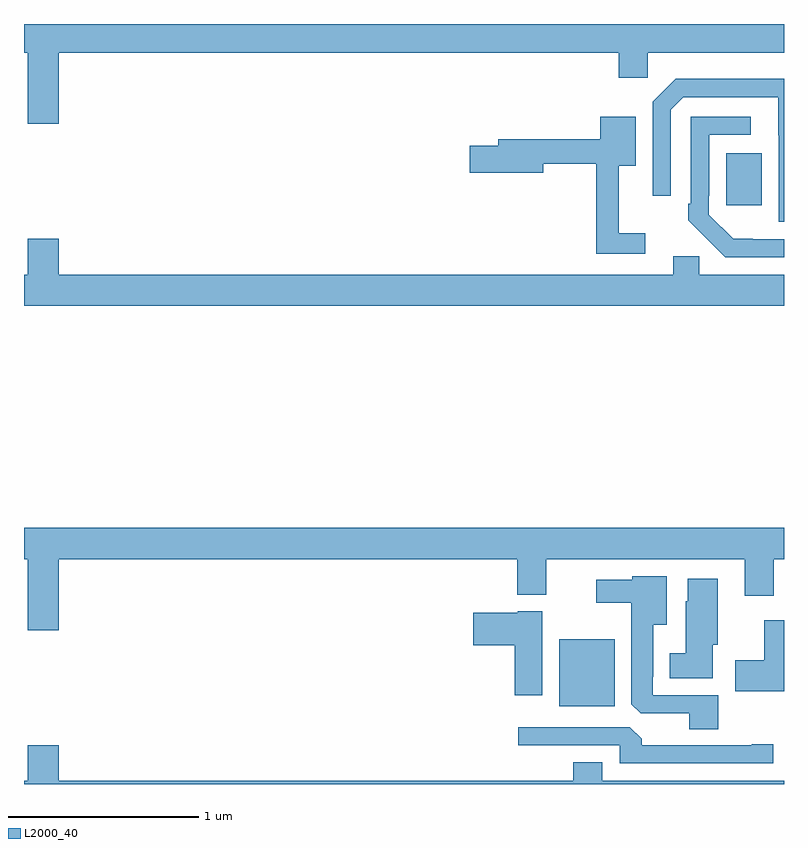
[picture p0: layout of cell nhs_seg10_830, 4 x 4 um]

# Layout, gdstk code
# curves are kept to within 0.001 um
import gdstk
lib = gdstk.Library(unit=1e-6, precision=1e-09)
def R(c, l, rs):  # rectangles x0, y0, x1, y1
    for r in rs: c.add(gdstk.rectangle(r[:2], r[2:], *l))
def P(c, l, *ps):  # polygons
    for p in ps: c.add(gdstk.Polygon(p, *l))
L2000_40 = (2000, 40)

nhs_seg10_830 = lib.new_cell('nhs_seg10_830')
R(nhs_seg10_830, L2000_40, [(155.816,1264.91,156.109,1265.263), (156.695,1267.545,156.883,1267.819)])
P(nhs_seg10_830, L2000_40, [(153.184,1268.348),(156.131,1268.348),(156.131,1268.217),(156.282,1268.217),(156.282,1268.348),(157,1268.348),(157,1268.5),(153,1268.5),(153,1268.348),(153.02,1268.348),(153.02,1267.974),(153.184,1267.974)],
  [(157,1268.212),(156.43,1268.212),(156.309,1268.091),(156.309,1267.596),(156.405,1267.596),(156.405,1268.049),(156.471,1268.115),(156.971,1268.115),(156.971,1267.915),(156.972,1267.915),(156.972,1267.458),(157,1267.458)],
  [(157,1267.368),(156.732,1267.369),(156.603,1267.497),(156.603,1267.597),(156.606,1267.597),(156.606,1267.917),(156.826,1267.917),(156.826,1268.013),(156.51,1268.013),(156.51,1267.555),(156.495,1267.555),(156.495,1267.467),(156.692,1267.272),(157,1267.272)],
  [(156.271,1267.399),(156.131,1267.399),(156.131,1267.754),(156.22,1267.754),(156.22,1268.011),(156.032,1268.011),(156.032,1267.894),(155.495,1267.894),(155.495,1267.86),(155.346,1267.86),(155.346,1267.718),(155.734,1267.718),(155.734,1267.765),(156.013,1267.765),(156.013,1267.29),(156.271,1267.29)],
  [(157,1267.18),(156.555,1267.18),(156.555,1267.278),(156.416,1267.278),(156.416,1267.18),(153.184,1267.18),(153.184,1267.369),(153.02,1267.369),(153.02,1267.18),(153,1267.18),(153,1267.016),(157,1267.016)],
  [(153.184,1265.684),(155.597,1265.684),(155.597,1265.495),(155.749,1265.495),(155.749,1265.684),(156.794,1265.684),(156.794,1265.49),(156.947,1265.49),(156.947,1265.684),(157,1265.684),(157,1265.848),(153,1265.848),(153,1265.684),(153.02,1265.684),(153.02,1265.31),(153.184,1265.31)],
  [(156.653,1264.968),(156.309,1264.968),(156.309,1265.065),(156.313,1265.065),(156.313,1265.339),(156.382,1265.339),(156.382,1265.593),(156.201,1265.593),(156.201,1265.575),(156.012,1265.575),(156.012,1265.453),(156.197,1265.453),(156.197,1264.921),(156.246,1264.872),(156.5,1264.872),(156.5,1264.789),(156.653,1264.789)],
  [(156.625,1265.232),(156.652,1265.232),(156.652,1265.581),(156.494,1265.581),(156.494,1265.463),(156.482,1265.463),(156.482,1265.188),(156.398,1265.188),(156.398,1265.057),(156.625,1265.057)],
  [(155.728,1265.41),(155.598,1265.41),(155.598,1265.401),(155.364,1265.401),(155.364,1265.231),(155.582,1265.231),(155.582,1264.968),(155.728,1264.968)],
  [(157,1265.362),(156.896,1265.362),(156.896,1265.151),(156.744,1265.151),(156.744,1264.988),(157,1264.988)],
  [(156.943,1264.709),(156.83,1264.709),(156.83,1264.704),(156.251,1264.704),(156.251,1264.738),(156.189,1264.8),(155.601,1264.8),(155.601,1264.704),(156.135,1264.704),(156.135,1264.608),(156.943,1264.608)],
  [(157,1264.516),(156.043,1264.516),(156.043,1264.615),(155.891,1264.615),(155.891,1264.516),(153.184,1264.516),(153.184,1264.705),(153.02,1264.705),(153.02,1264.516),(153,1264.516),(153,1264.5),(157,1264.5)])

lib.write_gds('nhs_seg10_830.gds')
